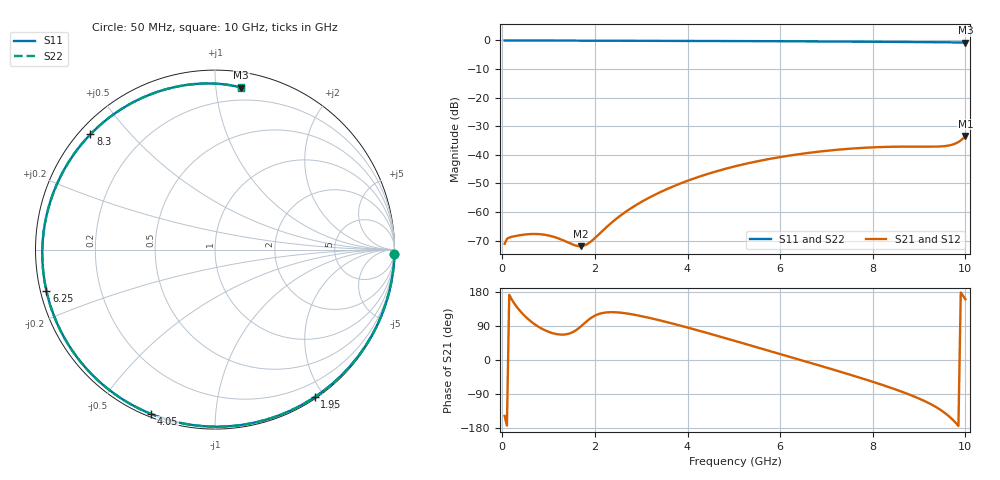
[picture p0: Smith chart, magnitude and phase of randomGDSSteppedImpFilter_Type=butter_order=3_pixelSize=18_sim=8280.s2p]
! freq	dB(S11)	phase(S11)	dB(S12)	phase(S12)
!  dB(S21)	phase(S21)	dB(S22)	phase(S22)
!S-par simulation data
#  GHz  S  DB  R 50
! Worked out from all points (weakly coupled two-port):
!   200 points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, 50 MHz to 10 GHz, reference 50 ohm
!   highest |S21| = -33.40 dB at 10 GHz (marker M1); lowest = -72.0 dB at 1.7 GHz (marker M2)
!   lowest |S11| = -0.8 dB at 10 GHz (marker M3), VSWR 22.46, Z = 5.28 + j58.5 ohm
!   |S11| at or under -10 dB: nowhere
!   |S22| runs from -0.8 to 0.0 dB; largest |S21 - S12| = 0
!   S11 on the Smith chart (normalised r, x): 50 MHz: 0, -78; 1.95 GHz: 0.02, -1.88; 4.05 GHz: 0.01, -0.68; 6.25 GHz: 0.02, -0.12; 8.3 GHz: 0.03, +0.39; 10 GHz: 0.11, +1.17
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0.05  -0.00 -1.5  -71.13 -147.4  -71.13 -147.4  -0.00 -1.5
0.1  -0.00 -2.9  -69.41 -172.8  -69.41 -172.8  -0.00 -2.9
0.2  -0.00 -5.9  -68.69 160.5  -68.69 160.5  -0.00 -5.9
0.75  -0.02 -22.0  -67.70 90.1  -67.70 90.1  -0.02 -22.0
1.1  -0.04 -32.0  -68.64 70.3  -68.64 70.3  -0.04 -32.0
1.7  -0.06 -49.0  -71.96 88.9  -71.96 88.9  -0.06 -49.0
1.75  -0.06 -50.4  -71.82 94.3  -71.82 94.3  -0.06 -50.4
1.95  -0.07 -55.9  -69.85 113.6  -69.85 113.6  -0.07 -55.9
2.65  -0.10 -74.9  -60.10 123.5  -60.10 123.5  -0.10 -74.9
3.4  -0.12 -94.6  -53.14 104.7  -53.14 104.7  -0.12 -94.6
4.05  -0.15 -111.2  -48.79 84.0  -48.79 84.0  -0.15 -111.2
5.05  -0.21 -136.2  -43.93 49.4  -43.93 49.4  -0.21 -136.1
5.65  -0.24 -151.1  -41.81 28.1  -41.81 28.1  -0.24 -151.1
6.25  -0.29 -166.3  -40.14 6.8  -40.14 6.8  -0.29 -166.3
6.7  -0.33 -178.0  -39.15 -9.3  -39.15 -9.3  -0.33 -177.9
7.5  -0.40 160.4  -37.87 -38.4  -37.87 -38.4  -0.40 160.5
8.3  -0.48 137.2  -37.22 -69.6  -37.22 -69.6  -0.48 137.3
8.35  -0.49 135.7  -37.21 -71.7  -37.21 -71.7  -0.49 135.8
9  -0.56 115.3  -37.16 -101.8  -37.16 -101.8  -0.56 115.4
9.6  -0.65 95.1  -36.85 -143.8  -36.85 -143.8  -0.65 95.3
9.85  -0.71 86.3  -35.52 -174.1  -35.52 -174.1  -0.71 86.5
10  -0.77 80.8  -33.40 160.2  -33.40 160.2  -0.77 81.0
